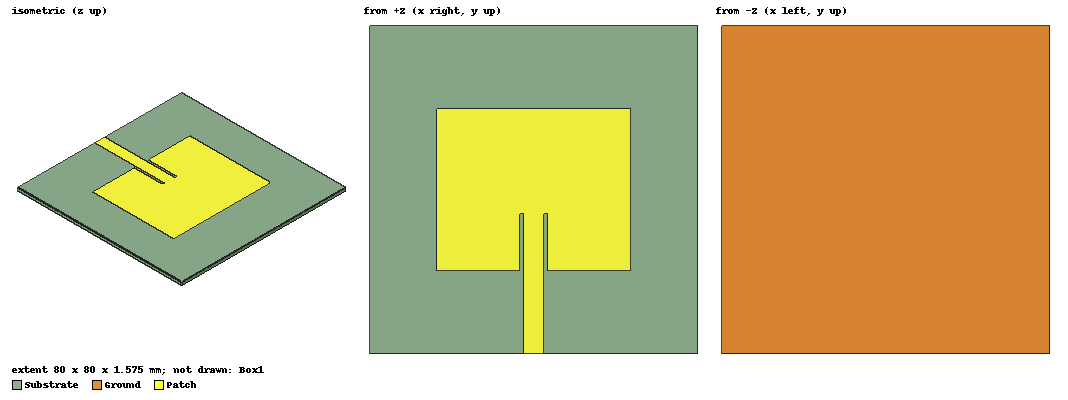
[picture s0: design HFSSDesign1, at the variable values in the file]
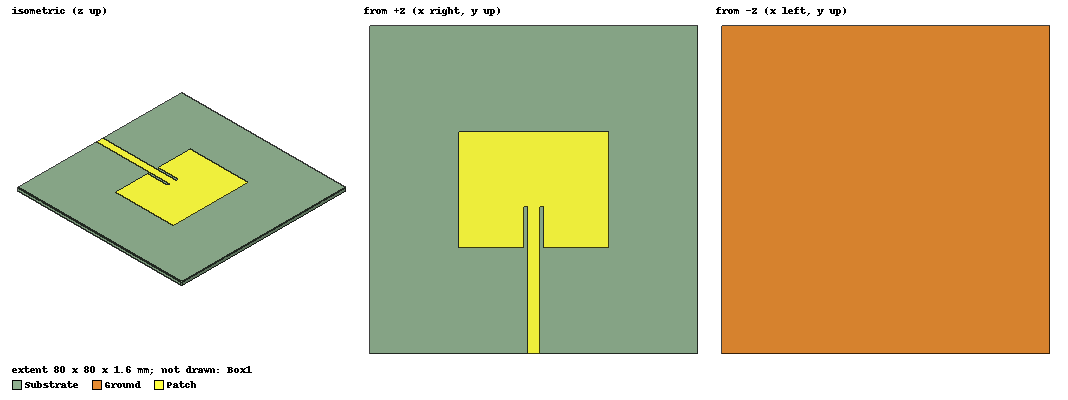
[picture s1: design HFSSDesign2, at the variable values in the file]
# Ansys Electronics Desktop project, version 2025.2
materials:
  vacuum: permittivity=1
  Rogers RT/duroid 5880 (tm): permittivity=2.2 dielectric_loss_tangent=0.0009
  air: permittivity=1.0006 permeability=1.0000004
  FR4_epoxy: permittivity=4.4 dielectric_loss_tangent=0.02

design HFSSDesign1 (HFSS, HFSS Modal Network, model units mm)
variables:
  SubW = 80mm
  SubL = 80mm
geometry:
  Substrate [Rogers RT/duroid 5880 (tm)] = box(corner=(-SubW/2, -SubL/2, 0mm), size=(SubW, SubL, 1.575mm))
  Ground = rectangle(corner=(-SubW/2, -SubL/2, 0mm), x_size=SubW, y_size=SubL)
  Patch = rectangle(corner=(-47.4mm/2, -39.5mm/2, 1.575mm), x_size=47.4mm, y_size=39.5mm)
  Cutout = rectangle(corner=(-3.4mm, -39.5mm/2, 1.575mm), x_size=6.8mm, y_size=13.9mm)
  Patch.subtract(Cutout)
  Feed = rectangle(corner=(-4.85mm/2, -SubL/2, 1.575mm), x_size=4.85mm, y_size=SubL/2)
  Patch.unite(Feed)
  Cap = rectangle(corner=((-4.85/2) mm, -40mm, 0mm), z_size=1.575mm, x_size=4.85mm)
  Box1 [air] = box(corner=(-80mm, -80mm, -40mm), size=(160mm, 160mm, 80mm))
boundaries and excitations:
  PerfE1: Perfect E Objects=Ground
  PerfE2: Perfect E Objects=Patch
  Rad1: Radiation Objects=Box1
  Port1: Lumped Port Objects=Cap LumpedPortType=Modal Modes{Mode1{IntLine{(0, -40, 0) -> (0, -40, 1.575)} CharImp=Zpi}} Impedance=50ohm
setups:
  Setup1: HfssDriven Frequency=2.5GHz MaxDeltaS=0.02 MaximumPasses=15 MinimumPasses=1 MinimumConvergedPasses=1 PercentRefinement=30 BasisOrder=1 PortAccuracy=2 DrivenSolverType="Direct Solver"
    sweep Sweep: 2GHz to 3GHz, 101 points; Type=Interpolating InterpTolerance=0.5 InterpMaxSolns=250 InterpUsePortImped=false PassivityErrorTolerance=0.0001
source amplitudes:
  Port1:1: 1W 0deg
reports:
  S Parameter Plot1: dB(S(Port1,Port1)) vs Freq on Setup1 : Sweep; markers m1 at 2.49GHz

design HFSSDesign2 (HFSS, HFSS Modal Network, model units mm)
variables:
  SubW = 80mm
  SubL = 80mm
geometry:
  Substrate [FR4_epoxy] = box(corner=(-SubW/2, -SubL/2, 0mm), size=(SubW, SubL, 1.6mm))
  Ground = rectangle(corner=(-SubW/2, -SubL/2, 0mm), x_size=SubW, y_size=SubL)
  Patch = rectangle(corner=(-36.5mm/2, -28.2mm/2, 1.6mm), x_size=36.5mm, y_size=28.2mm)
  Cutout = rectangle(corner=(-5.12mm/2, -28.2mm/2, 1.6mm), x_size=5.12mm, y_size=9.9mm)
  Patch.subtract(Cutout)
  Feed = rectangle(corner=(-3.12mm/2, -SubL/2, 1.6mm), x_size=3.12mm, y_size=SubL/2)
  Patch.unite(Feed)
  Cap = rectangle(corner=(-3.12mm/2, -40mm, 0mm), z_size=1.6mm, x_size=3.12mm)
  Box1 [air] = box(corner=(-80mm, -80mm, -40mm), size=(160mm, 160mm, 80mm))
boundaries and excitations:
  PerfE1: Perfect E Objects=Ground
  PerfE2: Perfect E Objects=Patch
  Rad1: Radiation Objects=Box1
  Port1: Lumped Port Objects=Cap LumpedPortType=Modal Modes{Mode1{IntLine{(0, -40, 0) -> (0, -40, 1.6)} CharImp=Zpi}} Impedance=50ohm
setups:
  Setup1: HfssDriven Frequency=2.5GHz MaxDeltaS=0.02 MaximumPasses=15 MinimumPasses=1 MinimumConvergedPasses=1 PercentRefinement=30 BasisOrder=1 PortAccuracy=2 DrivenSolverType="Direct Solver"
    sweep Sweep: 2GHz to 3GHz, 101 points; Type=Interpolating InterpTolerance=0.5 InterpMaxSolns=250 InterpUsePortImped=false PassivityErrorTolerance=0.0001
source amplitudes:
  Port1:1: 1W 0deg
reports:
  S Parameter Plot3: dB(S(Port1,Port1)) vs Freq on Setup1 : Sweep; markers m1 at 2.48GHz
